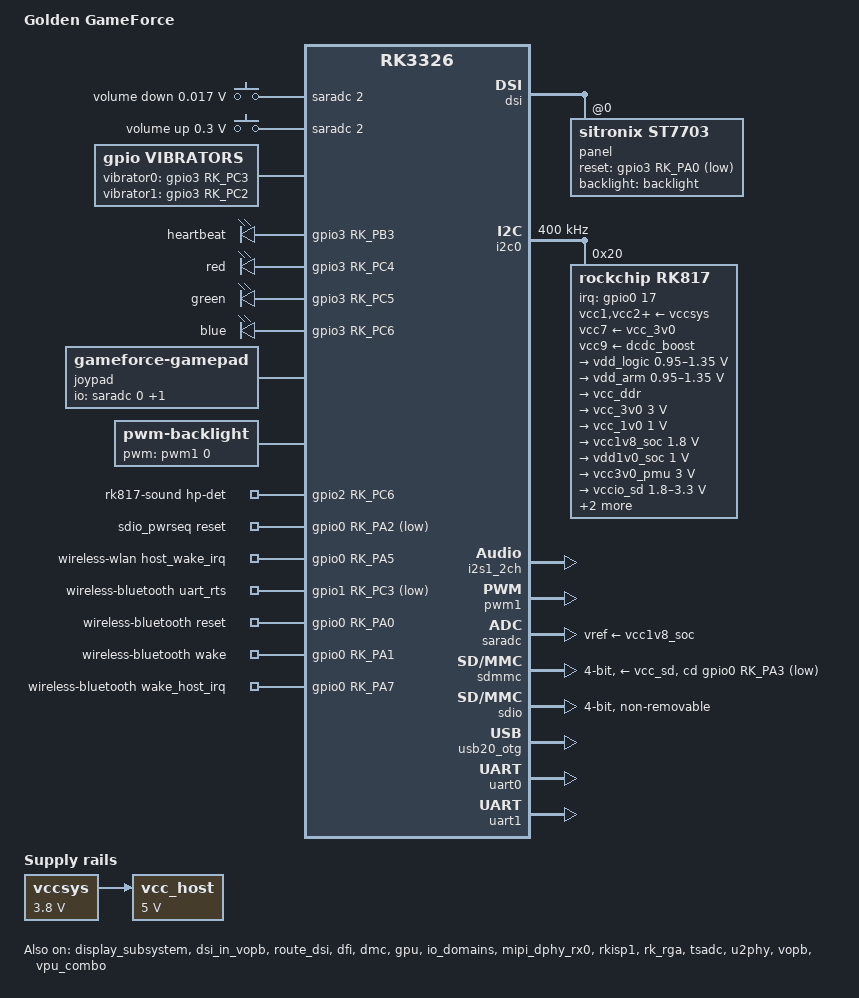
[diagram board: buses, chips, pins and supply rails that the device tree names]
// SPDX-License-Identifier: (GPL-2.0+ OR MIT)
/*
 * Copyright (c) 2020 Hardkernel Co., Ltd
 */

/dts-v1/;
#include <dt-bindings/display/drm_mipi_dsi.h>
#include <dt-bindings/gpio/gpio.h>
#include <dt-bindings/input/input.h>
#include <dt-bindings/pinctrl/rockchip.h>
#include <dt-bindings/sensor-dev.h>
#include "rk3326.dtsi"
#include "rk3326-linux.dtsi"

/ {
	model = "Golden GameForce";
	compatible = "rockchip,rk3326-gameforce-linux", "rockchip,rk3326";

	chosen {
                bootargs = "";
    };

	adc-keys {
		compatible = "adc-keys";
		io-channels = <&saradc 2>;
		io-channel-names = "buttons";
		poll-interval = <100>;
		keyup-threshold-microvolt = <1800000>;

		vol-down-key {
			linux,code = <KEY_VOLUMEDOWN>;
			label = "volume down";
			press-threshold-microvolt = <17000>;
		};

		vol-up-key {
			linux,code = <KEY_VOLUMEUP>;
			label = "volume up";
			press-threshold-microvolt = <300000>;
		};
	};

    vibrators {
            compatible = "gpio,vibrators";
			vibrator0-gpio = <&gpio3 RK_PC3 GPIO_ACTIVE_HIGH>;
			vibrator1-gpio = <&gpio3 RK_PC2 GPIO_ACTIVE_HIGH>;
            status = "okay";
    };
    
    leds: gpio_leds {
		compatible = "gpio-leds";

		pinctrl-names = "led_pins";
		pinctrl-0 = <&led_pins>;

		heartbeat {
			label = "heartbeat";
			gpios = <&gpio3 RK_PB3 GPIO_ACTIVE_HIGH>;//bluetooth GPIO3_B3
			linux,default-trigger = "heartbeat";//heartbeat, rfkill0
		};

        red {
			label = "red";
			gpios = <&gpio3 RK_PC4 GPIO_ACTIVE_HIGH>;//GPIO3_C4
            default-state = "off";
        };
        
        green {
			label = "green";
			gpios = <&gpio3 RK_PC5 GPIO_ACTIVE_HIGH>;//GPIO3_C5
            default-state = "off";
        };

        blue {
			label = "blue";
			gpios = <&gpio3 RK_PC6 GPIO_ACTIVE_HIGH>;//GPIO3_C6
            default-state = "off";
        };
	};

	joypad: gameforce-gamepad {
        compatible = "gameforce-gamepad";
        /*
           - gameforce-gamepad sysfs list -
		   * for poll device interval(ms)
		   /sys/devices/platform/gameforce_gamepad/poll_interval [rw]
                   * for button-adc-fuzz
		   /sys/devices/platform/gameforce_gamepad/adc_fuzz [r]
                   * for button-adc-flat
		   /sys/devices/platform/gameforce_gamepad/adc_flat [r]

		   * for report control(1:enable, 0:disable)
		   /sys/devices/platform/gameforce_gamepad/enable [rw]
		   * for adc calibration value setup(1:current adcs value -> cal value)
		   /sys/devices/platform/gameforce_gamepad/adc_cal [rw]
        */

		/* gpio pincontrol setup */
        pinctrl-names = "default";
        pinctrl-0 = <&btn_pins>;

		/* JOY_X, JOY_Y Channel define */
		io-channel-names = "joy_x", "joy_y";
		io-channels = <&saradc 0>, <&saradc 1>;

		/* adc channel count */
		button-adc-count = <2>;

		/* adc calculate scale */
		button-adc-scale = <2>;

		/* adc deadzone range  */
		button-adc-deadzone = <20>;

		/*
		    joy-stick voltage range
		    /sys/devices/platform/ff288000.saradc/iio:device0
		    adc-x : in_voltage1_raw
		    adc-y : in_voltage2_raw

		    range calculate.
		    (adc raw max value - adc raw min value) * scale * 1.7515
		*/
		button-adc-x-range = <1800>;
		button-adc-y-range = <1800>;

		/*
		  specifies fuzz value that is used to filter noise from
		  the event stream.
		*/
		button-adc-fuzz = <32>;
		button-adc-flat = <32>;

		/* poll device interval (ms), adc read interval */
		poll-interval = <10>;

		/* gpio button auto repeat set value : default disable */
		/*
			autorepeat;
		*/

		/*
		      *** ODROIDGO2-Advance Switch layoout ***
		    |------------------------------------------------|
		    | sw12-L1                        sw15-R2         |
		    |        sw13-L2                        sw14-R1  |
		    |------------------------------------------------|
		    |     sw1-UP   |-------------------|      sw8-Y  |
		    |  sw3   sw4   |                   | sw7-X  A-sw5|
		    |     sw2      |    LCD Display    |      sw6-B  |
		    |              |                   |             |
		    |              |-------------------|             |
		    |                 sw9-HOME   SET-sw10 sw11-START|
		    |------------------------------------------------|
		    */
            /*
                    joypad driver is poll-device driver.
                    poll-device is does not support wakeup-source.
		*/
                sw1 {
                        gpios = <&gpio1 RK_PB4 GPIO_ACTIVE_LOW>;
                        label = "GPIO DPAD-UP";
                        linux,code = <BTN_DPAD_UP>; // 0x220
                };
                sw2 {
                        gpios = <&gpio1 RK_PB5 GPIO_ACTIVE_LOW>;
                        label = "GPIO DPAD-DOWN";
                        linux,code = <BTN_DPAD_DOWN>; // 0x221
                };
                sw3 {
                        gpios = <&gpio1 RK_PB6 GPIO_ACTIVE_LOW>;
                        label = "GPIO DPAD-LEFT";
                        linux,code = <BTN_DPAD_LEFT>; // 0x222
                };
                sw4 {
                        gpios = <&gpio1 RK_PB7 GPIO_ACTIVE_LOW>;
                        label = "GPIO DPAD-RIGHT";
                        linux,code = <BTN_DPAD_RIGHT>; // 0x223
                };
                sw5 {
                        gpios = <&gpio2 RK_PB0 GPIO_ACTIVE_LOW>;
                        label = "GPIO BTN-A";
                        linux,code = <BTN_EAST>; // 0x131
                };
                sw6 {
                        gpios = <&gpio2 RK_PB1 GPIO_ACTIVE_LOW>;
                        label = "GPIO BTN-B";
                        linux,code = <BTN_SOUTH>; // 0x130
                };
                sw7 {
                        gpios = <&gpio2 RK_PB2 GPIO_ACTIVE_LOW>;
                        label = "GPIO BTN-Y";
                        linux,code = <BTN_WEST>; // 0x134
                };
                sw8 {
                        gpios = <&gpio2 RK_PB3 GPIO_ACTIVE_LOW>;
                        label = "GPIO BTN-X";
                        linux,code = <BTN_NORTH>; // 0x133
                };
                sw9 {
                        gpios = <&gpio2 RK_PA0 GPIO_ACTIVE_LOW>;
                        label = "GPIO BTN-HOME";
                        linux,code = <BTN_TRIGGER_HAPPY1>; // 0x2c0
                };
                sw10 {
                        gpios = <&gpio2 RK_PA3 GPIO_ACTIVE_LOW>;
                        label = "GPIO BTN-SET";
                        //linux,code = <BTN_TRIGGER_HAPPY2>; //BTN_SELECT 0x13a 0x2c1
                        linux,code = <BTN_SELECT>; //BTN_SELECT 0x13a 0x2c1
                };
                sw11 {
                        gpios = <&gpio2 RK_PA2 GPIO_ACTIVE_LOW>;
                        label = "GPIO BTN-START";
                        //linux,code = <BTN_TRIGGER_HAPPY3>; // BTN_START 0x13b 0x2c2
                        linux,code = <BTN_START>; // BTN_START 0x13b 0x2c2
                };
                sw12 {
                        gpios = <&gpio2 RK_PA6 GPIO_ACTIVE_LOW>;
                        label = "GPIO TOP-LEFT";
                        linux,code = <BTN_TL>;// 0x136
                };
                sw13 {
                        gpios = <&gpio2 RK_PA4 GPIO_ACTIVE_LOW>;
                        label = "GPIO TOP-LEFT2";
                        linux,code = <BTN_TL2>;// 0x138
                };
                sw14 {
                        gpios = <&gpio2 RK_PA7 GPIO_ACTIVE_LOW>;
                        label = "GPIO TOP-RIGHT";
                        linux,code = <BTN_TR>;// 0x137
                };
                sw15 {
                        gpios = <&gpio2 RK_PA5 GPIO_ACTIVE_LOW>;
                        label = "GPIO TOP-RIGHT2";
                        linux,code = <BTN_TR2>;// 0x139
                };
        };

	fiq-debugger {
		compatible = "rockchip,fiq-debugger";
		rockchip,serial-id = <2>;
		rockchip,wake-irq = <0>;
		/* If enable uart uses irq instead of fiq */
		rockchip,irq-mode-enable = <0>;
		rockchip,baudrate = <115200>;  /* Only 115200 and 1500000 */
		interrupts = <GIC_SPI 127 IRQ_TYPE_LEVEL_LOW>;
		pinctrl-names = "default";
		pinctrl-0 = <&uart2m1_xfer>;
		status = "okay";
	};

    /*leds: gpio_leds {
		compatible = "gpio-leds";

		pinctrl-names = "led_pins";
		//pinctrl-0 = <&led_pins>;

		heartbeat {// RED/GREEN/BLUE LED : GPIO3_C4/5/6
			label = "red:heartbeat";
			gpios = <&gpio3 RK_PC4 GPIO_ACTIVE_HIGH>;
			linux,default-trigger = "heartbeat";
		};
	};*/
	backlight: backlight {
		compatible = "pwm-backlight";
		pwms = <&pwm1 0 25000 0>;
		brightness-levels = <
			  0   1   2   3   4   5   6   7
			  8   9  10  11  12  13  14  15
			 16  17  18  19  20  21  22  23
			 24  25  26  27  28  29  30  31
			 32  33  34  35  36  37  38  39
			 40  41  42  43  44  45  46  47
			 48  49  50  51  52  53  54  55
			 56  57  58  59  60  61  62  63
			 64  65  66  67  68  69  70  71
			 72  73  74  75  76  77  78  79
			 80  81  82  83  84  85  86  87
			 88  89  90  91  92  93  94  95
			 96  97  98  99 100 101 102 103
			104 105 106 107 108 109 110 111
			112 113 114 115 116 117 118 119
			120 121 122 123 124 125 126 127
			128 129 130 131 132 133 134 135
			136 137 138 139 140 141 142 143
			144 145 146 147 148 149 150 151
			152 153 154 155 156 157 158 159
			160 161 162 163 164 165 166 167
			168 169 170 171 172 173 174 175
			176 177 178 179 180 181 182 183
			184 185 186 187 188 189 190 191
			192 193 194 195 196 197 198 199
			200 201 202 203 204 205 206 207
			208 209 210 211 212 213 214 215
			216 217 218 219 220 221 222 223
			224 225 226 227 228 229 230 231
			232 233 234 235 236 237 238 239
			240 241 242 243 244 245 246 247
			248 249 250 251 252 253 254 255>;
		default-brightness-level = <200>;
	};

	charge-animation {
		compatible = "rockchip,uboot-charge";
		rockchip,uboot-charge-on = <1>;
		rockchip,android-charge-on = <0>;
		rockchip,uboot-low-power-voltage = <3500>;
		rockchip,screen-on-voltage = <3600>;
		status = "okay";
	};
	rk817-sound {
		compatible = "simple-audio-card";
		simple-audio-card,format = "i2s";
		simple-audio-card,name = "rockchip,rk817-codec";
		simple-audio-card,mclk-fs = <256>;
		simple-audio-card,widgets =
			"Microphone", "Mic Jack",
			"Headphone", "Headphone Jack";
		simple-audio-card,routing =
			"MIC_IN", "Mic Jack",
			/*"IN1P", "Mic Jack",*/
			"Headphone Jack", "HPOL",
			"Headphone Jack", "HPOR";
		pinctrl-names = "default";
		pinctrl-0 = <&phone_det>;
		simple-audio-card,hp-det-gpio = <&gpio2 RK_PC6 GPIO_ACTIVE_HIGH>;
		simple-audio-card,codec-hp-det = <1>;
		simple-audio-card,cpu {
			sound-dai = <&i2s1_2ch>;
		};
		simple-audio-card,codec {
			sound-dai = <&rk817_codec>;
		};
	};

/*
	rk_headset {
		compatible = "rockchip_headset";
		headset_gpio = <&gpio2 RK_PC6 GPIO_ACTIVE_LOW>;
		pinctrl-names = "default";
		pinctrl-0 = <&hp_det>;
	};
*/
	sdio_pwrseq: sdio-pwrseq {
		compatible = "mmc-pwrseq-simple";
		/*clocks = <&rk817 1>;*/
		/*clock-names = "ext_clock";*/
		pinctrl-names = "default";
		pinctrl-0 = <&wifi_enable_h>;

		/*
		 * On the module itself this is one of these (depending
		 * on the actual card populated):
		 * - SDIO_RESET_L_WL_REG_ON
		 * - PDN (power down when low)
		 */
		reset-gpios = <&gpio0 RK_PA2 GPIO_ACTIVE_LOW>; /* GPIO3_A4 */
	};

	vccsys: vccsys {
		compatible = "regulator-fixed";
		regulator-name = "vcc3v8_sys";
		regulator-always-on;
		regulator-min-microvolt = <3800000>;
		regulator-max-microvolt = <3800000>;
	};

	vcc_host: vcc_host {
		compatible = "regulator-fixed";
		regulator-name = "vcc_host";
		regulator-min-microvolt = <5000000>;
		regulator-max-microvolt = <5000000>;

		//gpio = <&gpio0 RK_PB7 GPIO_ACTIVE_HIGH>;
		enable-active-high;
		regulator-always-on;
		vin-supply = <&vccsys>;
	};

	wireless-wlan {
		compatible = "wlan-platdata";
		wifi_chip_type = "rtl8723ds";
		WIFI,host_wake_irq = <&gpio0 RK_PA5 GPIO_ACTIVE_HIGH>;
		status = "okay";
	};

	wireless-bluetooth {
		compatible = "bluetooth-platdata";
		clocks = <&rk817 1>;
		clock-names = "ext_clock";
		uart_rts_gpios = <&gpio1 RK_PC3 GPIO_ACTIVE_LOW>;
		pinctrl-names = "default","rts_gpio";
		pinctrl-0 = <&uart1_rts>;
		pinctrl-1 = <&uart1_rts_gpio>;
		BT,reset_gpio = <&gpio0 RK_PA0 GPIO_ACTIVE_HIGH>;
		BT,wake_gpio = <&gpio0 RK_PA1 GPIO_ACTIVE_HIGH>;
		BT,wake_host_irq = <&gpio0 RK_PA7 GPIO_ACTIVE_HIGH>;
		status = "okay";
	};
};


&bus_apll {
	bus-supply = <&vdd_logic>;
	status = "okay";
};

&cpu0 {
	cpu-supply = <&vdd_arm>;
};

&cpu0_opp_table {
	rockchip,avs = <1>;

	/* bin scaling clock 1.296MHz */
	rockchip,bin-scaling-sel = <
		0               13
		1               13
	>;

	/delete-node/ opp-408000000;
	/delete-node/ opp-600000000;
	/delete-node/ opp-816000000;
	/delete-node/ opp-1416000000;
	/delete-node/ opp-1512000000;
};

&display_subsystem {
	status = "okay";
};

&dsi {
	status = "okay";

	panel@0 {
		compatible = "sitronix,st7703", "simple-panel-dsi";
		reg = <0>;

		/* pwm1 backlight */
		backlight = <&backlight>;
		/* RK817 LDO7 */
		//backlight-supply = <&vcc_backlight>;
		/* RK817 LDO8 */
		//power-supply = <&vcc_lcd>;

		/* Rev 0.2 LCD reset gpio GPIO3.C0 */
		reset-gpios = <&gpio3 RK_PA0 GPIO_ACTIVE_LOW>;//LCD_RST

		prepare-delay-ms = <2>;
		reset-delay-ms = <1>;
		init-delay-ms = <20>;
		enable-delay-ms = <120>;
		disable-delay-ms = <50>;
		unprepare-delay-ms = <20>;

		/* LCD size */
		width-mm = <53>;
		height-mm = <71>;

		dsi,flags = <(MIPI_DSI_MODE_VIDEO           |
			      MIPI_DSI_MODE_VIDEO_BURST     |
			      MIPI_DSI_MODE_LPM             |
			      MIPI_DSI_MODE_EOT_PACKET)>;

		dsi,format = <MIPI_DSI_FMT_RGB888>;
		dsi,lanes = <2>;

		/*
			- panel-init-sequence data description -
			  mipi_cmd, delay(ms), len, lcd_cmd, lcd_data...

			- mipi_cmd description -
			  05 : MIPI_DSI_SHORT_WRITE
			  15 : MIPI_DSI_SHORT_WRITE_PARAM
			  39 : MIPI_DSI_LONG_WRITE

			- ILI9486 (Initialize sequence) -
			  11: Sleep out & 250ms wait
			  E0: PositiveGamma
			  E1: NegativeGamma
			  C0: PowerControl_1
			  C1: PowerControl_2
			  C5: VcomControl
			  36: MemoryAccess
			  3A: InterfacePixelFormat
			  B0: InterfaceModeControl
			  B1: FrameRateControl
			  B4: DisplayInversionControl
			  B6: DisplayFunctionControl
			  E9: SetImageFunction
			  F7: AdjustControl_3
			  21: DisplayInversionOn
			  29: DisplayOn & 50ms wait
		*/

		panel-init-sequence = [
			05 fa 01 11
			39 00 04 b9 f1 12 83
			39 00 1c ba 31 81 05 F9 0E 0E 20 00 00
                                 00 00 00 00 00 44 25 00 91 0A
                                 00 00 02 4F D1 00 00 37
			15 00 02 b8 25
			39 00 04 bf 02 11 00
			39 00 0b b3 0C 10 0A 50 03 FF 00 00 00
                                 00
			39 00 0a c0 73 73 50 50 00 00 08 70 00
			15 00 02 bc 46
			15 00 02 cc 0b
			15 00 02 b4 80
			39 00 04 b2 00 13 F0
			39 00 0f e3 07 07 0B 0B 03 0B 00 00 00
                                 00 FF 00 C0 10
			39 00 0d c1 53 00 1E 1E 77 E1 CC DD 67
                                 77 33 33
			
			39 00 03 b5 10 10
			39 00 03 b6 6c 7c
			39 00 40 e9 08 00 0E 00 00 B0 B1 11 31
                                 23 28 10 B0 B1 27 08 00 04 02
				 00 00 00 00 04 02 00 00 00 88
                     		 88 BA 60 24 08 88 88 88 88 88
                     		 88 88 BA 71 35 18 88 88 88 88
                     		 88 00 00 00 01 00 00 00 00 00
                     		 00 00 00 00
			39 00 3e ea 97 0A 82 02 13 07 00 00 00
                     		 00 00 00 80 88 BA 17 53 88 88
        			 88 88 88 88 81 88 BA 06 42 88
	                         88 88 88 88 88 23 10 00 02 80
	                         00 00 00 00 00 00 00 00 00 00
	                         00 00 00 00 00 00 00 00 00 00
	                         00 00
			39 00 23 e0 00 07 0B 27 2D 3F 3B 37 05
                                 0A 0B 0F 11 0F 12 12 18 00 07
                                 0B 27 2D 3F 3B 37 05 0A 0B 0F
                                 11 0F 12 12 18
			05 32 01 29
		];

		/* 28: DisplayOff */
		/* 10: SleepIn */
		panel-exit-sequence = [
			05 00 01 28
			05 00 01 10
		];

		display-timings {
			native-mode = <&st7703_timing>;

			st7703_timing: timing0 {
				clock-frequency = <30900000>;
				hactive = <640>;
				vactive = <480>;
				hfront-porch = <120>;
				hsync-len = <120>;
				hback-porch = <120>;
				vfront-porch = <17>;
				vsync-len = <5>;
				vback-porch = <13>;
				hsync-active = <0>;
				vsync-active = <0>;
				de-active = <0>;
				pixelclk-active = <0>;
			};
		};
	};
};

&dsi_in_vopb {
	status = "okay";
};

&route_dsi {
	connect = <&vopb_out_dsi>;
	status = "okay";
};

&dfi {
	status = "okay";
};

&dmc {
	center-supply = <&vdd_logic>;
	status = "okay";
};

&dmc_opp_table {
	/delete-node/ opp-194000000;
	/delete-node/ opp-328000000;
	/delete-node/ opp-450000000;

	opp-786000000 {
		status = "okay";
	};
};

&gpu_opp_table {
	/delete-node/ opp-200000000;
	/delete-node/ opp-300000000;
};

&emmc {
	status = "disabled";
};


&sfc {
	status = "disabled";
};

&gpu {
	mali-supply = <&vdd_logic>;
	status = "okay";
};

&i2c0 {
	status = "okay";
	clock-frequency = <400000>;
	i2c-scl-rising-time-ns = <280>;
	i2c-scl-falling-time-ns = <16>;

	rk817: pmic@20 {
		compatible = "rockchip,rk817";
		reg = <0x20>;
		interrupt-parent = <&gpio0>;
		interrupts = <17 IRQ_TYPE_LEVEL_LOW>;
		pinctrl-names = "default", "pmic-sleep",
				"pmic-power-off", "pmic-reset";
		pinctrl-0 = <&pmic_int>;
		pinctrl-1 = <&soc_slppin_slp>, <&rk817_slppin_slp>;
		pinctrl-2 = <&soc_slppin_gpio>, <&rk817_slppin_pwrdn>;
		pinctrl-3 = <&soc_slppin_rst>, <&rk817_slppin_rst>;
		rockchip,system-power-controller;
		wakeup-source;
		#clock-cells = <1>;
		clock-output-names = "rk808-clkout1", "rk808-clkout2";
		//fb-inner-reg-idxs = <2>;

		/* 1: rst regs (default in codes), 0: rst the pmic */
		pmic-reset-func = <1>;

		vcc1-supply = <&vccsys>;
		vcc2-supply = <&vccsys>;
		vcc3-supply = <&vccsys>;
		vcc4-supply = <&vccsys>;
		vcc5-supply = <&vccsys>;
		vcc6-supply = <&vccsys>;
		vcc7-supply = <&vcc_3v0>;
		vcc8-supply = <&vccsys>;
		vcc9-supply = <&dcdc_boost>;

		pwrkey {
			status = "okay";
		};

		pinctrl_rk8xx: pinctrl_rk8xx {
			gpio-controller;
			#gpio-cells = <2>;

			rk817_ts_gpio1: rk817_ts_gpio1 {
				pins = "gpio_ts";
				function = "pin_fun1";
				/* output-low; */
				/* input-enable; */
			};

			rk817_gt_gpio2: rk817_gt_gpio2 {
				pins = "gpio_gt";
				function = "pin_fun1";
			};

			rk817_pin_ts: rk817_pin_ts {
				pins = "gpio_ts";
				function = "pin_fun0";
			};

			rk817_pin_gt: rk817_pin_gt {
				pins = "gpio_gt";
				function = "pin_fun0";
			};

			rk817_slppin_null: rk817_slppin_null {
				pins = "gpio_slp";
				function = "pin_fun0";
			};

			rk817_slppin_slp: rk817_slppin_slp {
				pins = "gpio_slp";
				function = "pin_fun1";
			};

			rk817_slppin_pwrdn: rk817_slppin_pwrdn {
				pins = "gpio_slp";
				function = "pin_fun2";
			};

			rk817_slppin_rst: rk817_slppin_rst {
				pins = "gpio_slp";
				function = "pin_fun3";
			};
		};

		regulators {
			vdd_logic: DCDC_REG1 {
				regulator-always-on;
				regulator-boot-on;
				regulator-min-microvolt = <950000>;
				regulator-max-microvolt = <1350000>;
				regulator-ramp-delay = <6001>;
				regulator-initial-mode = <0x2>;
				regulator-name = "vdd_logic";
				regulator-state-mem {
					regulator-on-in-suspend;
					regulator-suspend-microvolt = <950000>;
				};
			};

			vdd_arm: DCDC_REG2 {
				regulator-always-on;
				regulator-boot-on;
				regulator-min-microvolt = <950000>;
				regulator-max-microvolt = <1350000>;
				regulator-ramp-delay = <6001>;
				regulator-initial-mode = <0x2>;
				regulator-name = "vdd_arm";
				regulator-state-mem {
					regulator-off-in-suspend;
					regulator-suspend-microvolt = <950000>;
				};
			};

			vcc_ddr: DCDC_REG3 {
				regulator-always-on;
				regulator-boot-on;
				regulator-initial-mode = <0x2>;
				regulator-name = "vcc_ddr";
				regulator-state-mem {
					regulator-on-in-suspend;
				};
			};

			vcc_3v0: DCDC_REG4 {
				regulator-always-on;
				regulator-boot-on;
				regulator-min-microvolt = <3000000>;
				regulator-max-microvolt = <3000000>;
				regulator-initial-mode = <0x2>;
				regulator-name = "vcc_3v0";
				regulator-state-mem {
					regulator-off-in-suspend;
					regulator-suspend-microvolt = <3000000>;
				};
			};

			/* Not Used */
			vcc_1v0: LDO_REG1 {
				regulator-min-microvolt = <1000000>;
				regulator-max-microvolt = <1000000>;
				regulator-name = "vcc_1v0";
				regulator-state-mem {
					regulator-off-in-suspend;
					regulator-suspend-microvolt = <1000000>;
				};
			};

			vcc1v8_soc: LDO_REG2 {
				regulator-always-on;
				regulator-boot-on;
				regulator-min-microvolt = <1800000>;
				regulator-max-microvolt = <1800000>;

				regulator-name = "vcc1v8_soc";
				regulator-state-mem {
					regulator-on-in-suspend;
					regulator-suspend-microvolt = <1800000>;
				};
			};

			vdd1v0_soc: LDO_REG3 {
				regulator-always-on;
				regulator-boot-on;
				regulator-min-microvolt = <1000000>;
				regulator-max-microvolt = <1000000>;

				regulator-name = "vcc1v0_soc";
				regulator-state-mem {
					regulator-on-in-suspend;
					regulator-suspend-microvolt = <1000000>;
				};
			};

			vcc3v0_pmu: LDO_REG4 {
				regulator-always-on;
				regulator-boot-on;
				regulator-min-microvolt = <3000000>;
				regulator-max-microvolt = <3000000>;

				regulator-name = "vcc3v0_pmu";
				regulator-state-mem {
					regulator-on-in-suspend;
					regulator-suspend-microvolt = <3000000>;

				};
			};

			vccio_sd: LDO_REG5 {
				regulator-always-on;
				regulator-boot-on;
				regulator-min-microvolt = <1800000>;
				regulator-max-microvolt = <3300000>;

				regulator-name = "vccio_sd";
				regulator-state-mem {
					regulator-on-in-suspend;
					regulator-suspend-microvolt = <3300000>;
				};
			};

			vcc_sd: LDO_REG6 {
				regulator-min-microvolt = <3300000>;
				regulator-max-microvolt = <3300000>;
				regulator-boot-on;

				regulator-name = "vcc_sd";
				regulator-state-mem {
					regulator-on-in-suspend;
					regulator-suspend-microvolt = <3300000>;

				};
			};

			/* Rev 0.2 LCD Backlight Power not use*/
			vcc_backlight: LDO_REG7 {
				regulator-min-microvolt = <3300000>;
				regulator-max-microvolt = <3300000>;
				regulator-name = "vcc_backlight";
				regulator-state-mem {
					regulator-off-in-suspend;
					regulator-suspend-microvolt = <3300000>;
				};
			};

			/* Rev 0.2 LCD IO Power not use*/
			vcc_lcd: LDO_REG8 {
				regulator-min-microvolt = <2800000>;
				regulator-max-microvolt = <2800000>;
				regulator-name = "vcc_lcd";
				regulator-state-mem {
					regulator-off-in-suspend;
					regulator-suspend-microvolt = <2800000>;
				};
			};

			/* Rev 1.1 WIFI Power not use*/
			vcc_wifi: LDO_REG9 {
				regulator-always-on;
				regulator-boot-on;
				regulator-min-microvolt = <3300000>;
				regulator-max-microvolt = <3300000>;

				regulator-name = "vcc_wifi";
				regulator-state-mem {
					regulator-off-in-suspend;
					regulator-suspend-microvolt = <3300000>;
				};
			};

			dcdc_boost: BOOST {
				regulator-always-on;
				regulator-boot-on;
				regulator-min-microvolt = <5000000>;
				regulator-max-microvolt = <5400000>;
				regulator-name = "boost";
			};

			otg_switch: OTG_SWITCH {
				regulator-boot-on;
				regulator-name = "otg_switch";
			};
		};

		battery {
			compatible = "rk817,battery";
			ocv_table = <3500 3625 3685 3697 3718 3735 3748
			3760 3774 3788 3802 3816 3834 3853
			3877 3908 3946 3975 4018 4071 4106>;

			/* KPL605475 Battery Spec */
			/*
				Capacity : 3.7V 3000mA
				Normal Voltage = 3.7V
				Cut-Off Voltage : 3.1V
				Internal Impedance : 180 mOhm
				Charging Voltage : 4.2V
				Charging Voltage Max : 4.25V
				Sample resister : 10 mohm
			*/
			design_capacity = <3000>;
			design_qmax = <3000>;
			bat_res = <180>;
			sleep_enter_current = <300>;
			sleep_exit_current = <300>;
			sleep_filter_current = <100>;
			power_off_thresd = <3500>;
			zero_algorithm_vol = <3700>;
			max_soc_offset = <60>;
			monitor_sec = <5>;
			virtual_power = <0>;
			sample_res = <10>;
		};

		charger {
			compatible = "rk817,charger";
			min_input_voltage = <4500>;
			max_input_current = <1500>;
			max_chrg_current = <1500>;
			max_chrg_voltage = <4200>;
			chrg_term_mode = <0>;
			chrg_finish_cur = <300>;
			virtual_power = <0>;
			sample_res = <10>;

			/* P.C.B rev0.2 DC Detect & Charger Status LED GPIO */
			//dc_det_gpio  = <&gpio0 RK_PB3 GPIO_ACTIVE_HIGH>;
			chg_led_gpio = <&gpio3 RK_PB2 GPIO_ACTIVE_HIGH>;

			extcon = <&u2phy>;
		};

		rk817_codec: codec {
			#sound-dai-cells = <0>;
			compatible = "rockchip,rk817-codec";
			clocks = <&cru SCLK_I2S1_OUT>;
			clock-names = "mclk";
			pinctrl-names = "default";
			pinctrl-0 = <&i2s1_2ch_mclk &spk_ctl>;
			spk-ctl-gpios = <&gpio2 RK_PB5 GPIO_ACTIVE_HIGH>;
			use-ext-amplifier;
			hp-volume = <3>;//255-0
			spk-volume = <3>;//255-0
			status = "okay";
		};
	};
};

/* EXT Header(P2) : 7(SCL:GPIO0.C2), 8(SDA:GPIO0.C3) */
&i2c1 {
	status = "disabled";
	clock-frequency = <400000>;
};

/* MIPI CSI I2C */
&i2c2 {
	status = "disabled";
};

/* I2S 1 Channel Used */
&i2s1_2ch {
	status = "okay";
	#sound-dai-cells = <0>;
};

&io_domains {
	/* GRF Register Voltage select control */
	status = "okay";

	/* SDIO I/O Voltage */
	vccio1-supply = <&vcc3v0_pmu>;
	/* SDMMC I/O Voltage */
	vccio2-supply = <&vccio_sd>;
	/* CAM I/O Voltage */
	vccio3-supply = <&vcc_3v0>;
	/* LVDS/LCDC I/O Voltage */
	vccio4-supply = <&vcc_3v0>;
	/* I2S I/O Voltage */
	vccio5-supply = <&vcc_3v0>;
	/* eMMC I/O Voltage */
	vccio6-supply = <&vcc_3v0>;
};

&isp_mmu {
	status = "okay";
};

&mipi_dphy_rx0 {
	status = "okay";
};

&rkisp1 {
	status = "okay";
};

&spi0 {
	status = "disabled";
};

&pmu_io_domains {
	/* PMU GRF Register Voltage select control */
	status = "okay";

	/* PMU I/O Voltage */
	pmuio1-supply = <&vcc1v8_soc>;
	/* GPIO0_B/GPIO0_C, Flash */
	pmuio2-supply = <&vcc3v0_pmu>;
};

/* LCD Backlight PWM */
&pwm1 {
	status = "okay";
};

&rk_rga {
	status = "okay";
};

&rockchip_suspend {
	status = "okay";
	rockchip,sleep-debug-en = <1>;
};

&saradc {
	status = "okay";
	vref-supply = <&vcc1v8_soc>;
};

&sdmmc {
	bus-width = <4>;
	cap-mmc-highspeed;
	cap-sd-highspeed;
	supports-sd;
	card-detect-delay = <800>;
	ignore-pm-notify;
	cd-gpios = <&gpio0 RK_PA3 GPIO_ACTIVE_LOW>; /*[> CD GPIO <]*/
	sd-uhs-sdr12;
	sd-uhs-sdr25;
	sd-uhs-sdr50;
	sd-uhs-sdr104;
	vqmmc-supply = <&vccio_sd>;
	vmmc-supply = <&vcc_sd>;
	status = "okay";
};

&sdio {
	bus-width = <4>;
	cap-sd-highspeed;
	cap-sdio-irq;
	disable-wp;
	supports-sdio;
	ignore-pm-notify;
	keep-power-in-suspend;
	non-removable;
	mmc-pwrseq = <&sdio_pwrseq>;
	sd-uhs-sdr104;
	status = "okay";
};

&tsadc {
	pinctrl-names = "gpio", "otpout";
	pinctrl-0 = <&tsadc_otp_gpio>;
	pinctrl-1 = <&tsadc_otp_out>;
	status = "okay";
};

&u2phy {
	status = "okay";

	u2phy_host: host-port {
		status = "okay";
	};

	u2phy_otg: otg-port {
		status = "okay";
	};
};

&usb20_otg {
	status = "okay";
};
&uart0 {
	pinctrl-names = "default";
	pinctrl-0 = <&uart0_xfer &uart0_cts>;
	status = "okay";
};

/*
	EXT Header(P2) UART :
	2(RXD:GPIO1.C0),3(TXD:GPIO1.C1),4(CTS:GPIO1.C2),5(RTS:GPIO1.C3)
*/
&uart1 {
	pinctrl-names = "default";
	pinctrl-0 = <&uart1_xfer &uart1_cts>;
	status = "okay";
};

&vip_mmu {
	status = "okay";
};

&vopb {
	status = "okay";
};

&vopb_mmu {
	status = "okay";
};

&vpu_combo {
	status = "okay";
};

&pinctrl {
/*
	headphone {
		//High : HeadPhone remove, Low : HeadPhone insert
		hp_det: hp-det {
			rockchip,pins = <2 RK_PC6 RK_FUNC_GPIO &pcfg_pull_down>;
		};
	};
*/
	headphone {
		//Low : HeadPhone remove, High : HeadPhone insert
		phone_det: phone_det {
			rockchip,pins = <2 RK_PC6 RK_FUNC_GPIO &pcfg_pull_up>;
		};
	};
	
    leds {
		led_pins: led-pins {
			rockchip,pins = <3 RK_PB3 RK_FUNC_GPIO &pcfg_pull_none>,
			<3 RK_PC4 RK_FUNC_GPIO &pcfg_pull_none>,
			<3 RK_PC5 RK_FUNC_GPIO &pcfg_pull_none>,
			<3 RK_PC6 RK_FUNC_GPIO &pcfg_pull_none>;
		};
	};
	
    speaker {
        spk_ctl: spk_ctl {
            rockchip,pins = <2 RK_PB5 RK_FUNC_GPIO &pcfg_pull_none>;
        };
    };
	pmic {
		/* ODROID-GO2 : PMIC_INT(GPIO0.PC1) */
		pmic_int: pmic_int {
			rockchip,pins =
				<0 RK_PC1 RK_FUNC_GPIO &pcfg_pull_up>;
		};

		/* ODROID-GO2 : PMIC_SLEEP(GPIO0.PA4) */
		soc_slppin_gpio: soc_slppin_gpio {
			rockchip,pins =
				<0 RK_PA4 RK_FUNC_GPIO &pcfg_output_low>;
		};

		soc_slppin_slp: soc_slppin_slp {
			rockchip,pins =
				<0 RK_PA4 RK_FUNC_1 &pcfg_pull_none>;
		};

		soc_slppin_rst: soc_slppin_rst {
			rockchip,pins =
				<0 RK_PA4 RK_FUNC_2 &pcfg_pull_none>;
		};
	};

	
	sdio-pwrseq {
		wifi_enable_h: wifi-enable-h {
			rockchip,pins = <0 RK_PA2 RK_FUNC_GPIO &pcfg_pull_none>;
		};
	};
	btns {
		btn_pins: btn-pins {
			rockchip,pins = <1 RK_PB4 RK_FUNC_GPIO &pcfg_pull_up>,
					<1 RK_PB5 RK_FUNC_GPIO &pcfg_pull_up>,
					<1 RK_PB6 RK_FUNC_GPIO &pcfg_pull_up>,
					<1 RK_PB7 RK_FUNC_GPIO &pcfg_pull_up>,
					<2 RK_PB0 RK_FUNC_GPIO &pcfg_pull_up>,
					<2 RK_PB1 RK_FUNC_GPIO &pcfg_pull_up>,
					<2 RK_PB2 RK_FUNC_GPIO &pcfg_pull_up>,
					<2 RK_PB3 RK_FUNC_GPIO &pcfg_pull_up>,

					<2 RK_PA0 RK_FUNC_GPIO &pcfg_pull_up>,
					<2 RK_PA2 RK_FUNC_GPIO &pcfg_pull_up>,
					<2 RK_PA3 RK_FUNC_GPIO &pcfg_pull_up>,
					<2 RK_PA4 RK_FUNC_GPIO &pcfg_pull_up>,
					<2 RK_PA5 RK_FUNC_GPIO &pcfg_pull_up>,
					<2 RK_PA6 RK_FUNC_GPIO &pcfg_pull_up>,
					<2 RK_PA7 RK_FUNC_GPIO &pcfg_pull_up>;
		};
	};
};

/* DON'T PUT ANYTHING BELOW HERE.  PUT IT ABOVE PINCTRL */
/* DON'T PUT ANYTHING BELOW HERE.  PUT IT ABOVE PINCTRL */
/* DON'T PUT ANYTHING BELOW HERE.  PUT IT ABOVE PINCTRL */
